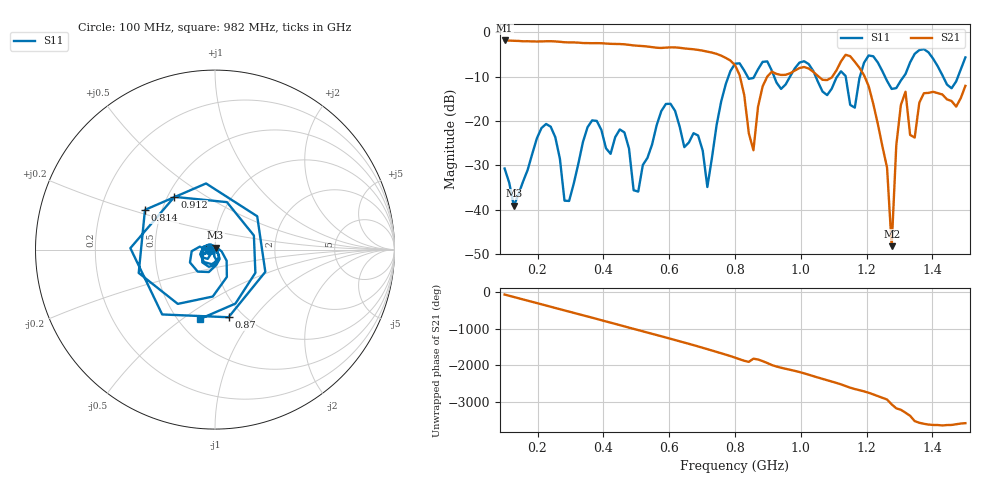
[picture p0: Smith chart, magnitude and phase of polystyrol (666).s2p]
! NanoVNA-App
! Date: 2025-09-25 15:35:04
! Start: 100MHz Stop: 1,5GHz Points: 101
! S-Parameter data: F S11 S21 S12 S22
# Hz S RI R 50
!  Frequency  S11_Real  S11_Imag  S21_Real  S21_Imag  S12_Real  S12_Imag  S22_Real  S22_Imag
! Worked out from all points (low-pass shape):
!   101 points, 100 MHz to 1.5 GHz, reference 50 ohm
!   highest |S21| = -1.80 dB at 100 MHz (marker M1); lowest = -48.2 dB at 1.276 GHz (marker M2)
!   |S21| within 3 dB of the highest: start of sweep to 742.9 MHz
!   lowest |S11| = -39.1 dB at 128 MHz (marker M3), VSWR 1.02, Z = 50.3 + j1.06 ohm
!   |S11| at or under -10 dB: start of sweep to 779.8 MHz; 1.045 GHz to 1.11 GHz (64.72 MHz wide, 6 % of centre); 1.256 GHz to 1.312 GHz (56.08 MHz wide, 4.37 % of centre) (the widest 3 of 7)
!   S12 and S22 are empty: the file has one direction only
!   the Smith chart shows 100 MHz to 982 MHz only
!   S11 on the Smith chart (normalised r, x): 100 MHz: 0.94, -0.01; 814 MHz: 0.40, +0.22; 870 MHz: 0.85, -0.76; 912 MHz: 0.54, +0.37; 982 MHz: 0.64, -0.58
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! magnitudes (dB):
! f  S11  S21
! 100 MHz  -30.7  -1.8
! 128 MHz  -39.1  -1.9
! 212 MHz  -21.6  -2.0
! 282 MHz  -38.0  -2.2
! 338 MHz  -24.7  -2.4
! 464 MHz  -22.6  -2.7
! 506 MHz  -35.9  -3.0
! 576 MHz  -17.8  -3.5
! 716 MHz  -34.9  -4.3
! 800 MHz  -7.0  -7.4
! 814 MHz  -7.0  -9.6
! 856 MHz  -10.3  -26.6
! 870 MHz  -8.3  -16.8
! 912 MHz  -8.6  -8.9
! 982 MHz  -8.1  -8.6
! 1.038 GHz  -8.7  -8.9
! 1.192 GHz  -6.8  -9.6
! 1.262 GHz  -10.9  -30.5
! 1.276 GHz  -12.7  -48.2
! 1.29 GHz  -12.6  -25.5
! 1.318 GHz  -9.4  -13.4
! 1.5 GHz  -5.6  -12.1
